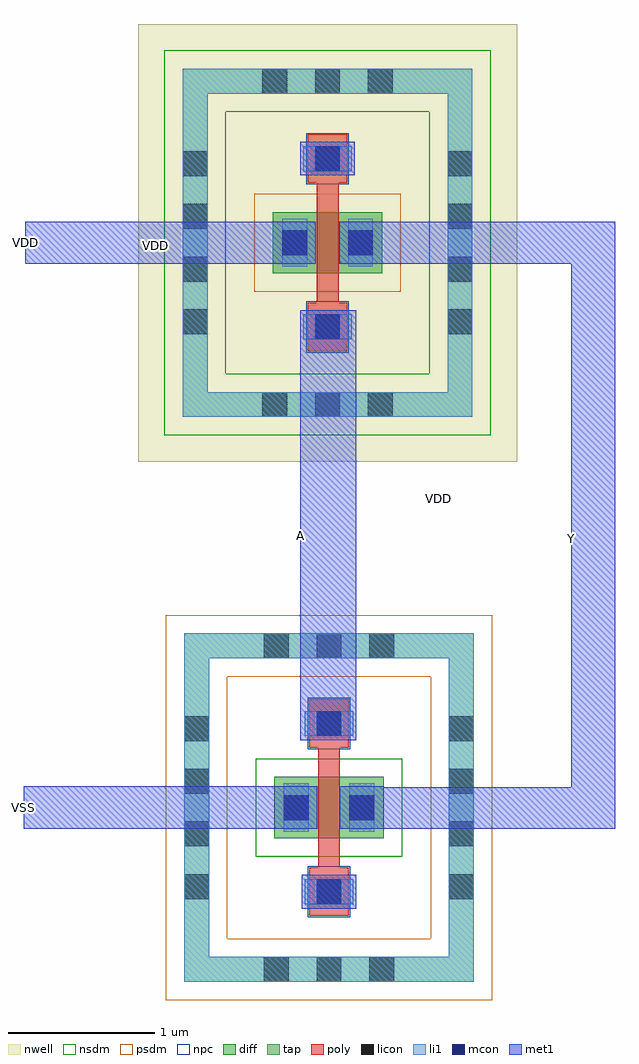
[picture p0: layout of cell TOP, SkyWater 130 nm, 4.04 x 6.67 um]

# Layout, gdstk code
import gdstk
lib = gdstk.Library(unit=1e-6, precision=5e-09)
def R(c, l, rs):  # rectangles x0, y0, x1, y1
    for r in rs: c.add(gdstk.rectangle(r[:2], r[2:], *l))
def A(c, l, x, y, w, h, nx, ny, dx, dy):  # array of equal rectangles
    R(c, l, [(x+i*dx, y+j*dy, x+i*dx+w, y+j*dy+h) for i in range(nx) for j in range(ny)])
def P(c, l, *ps):  # polygons
    for p in ps: c.add(gdstk.Polygon(p, *l))
nwell = (64, 20)
diff = (65, 20)
tap = (65, 44)
poly = (66, 20)
licon = (66, 44)
li1 = (67, 20)
mcon = (67, 44)
met1 = (68, 20)
nsdm = (93, 44)
psdm = (94, 20)
npc = (95, 20)

pfet = lib.new_cell('pfet')
R(pfet, nwell, [(-0.92,-1.285,1.67,1.705)])
R(pfet, diff, [(0,0,0.75,0.42)])
P(pfet, tap, [(-0.615,-0.98),(-0.615,1.23),(-0.445,1.23),(-0.445,-0.81),(1.195,-0.81),(1.195,1.23),(-0.615,1.23),(-0.615,1.4),(1.365,1.4),(1.365,-0.98)])
R(pfet, poly, [(0.24,-0.53,0.51,-0.2), (0.3,-0.2,0.45,0.62), (0.24,0.62,0.51,0.95)])
A(pfet, licon, -0.07, -0.98, 0.17, 0.17, 3, 2, 0.36, 2.21)
A(pfet, licon, -0.615, -0.415, 0.17, 0.17, 1, 4, 0, 0.36)
A(pfet, licon, 1.195, -0.415, 0.17, 0.17, 1, 4, 0, 0.36)
R(pfet, licon, [(0.29,-0.45,0.46,-0.28), (0.065,0.125,0.235,0.295), (0.515,0.125,0.685,0.295), (0.29,0.7,0.46,0.87)])
R(pfet, li1, [(0.21,-0.45,0.54,-0.28), (0.065,0.045,0.235,0.375), (0.515,0.045,0.685,0.375), (0.21,0.7,0.54,0.87)])
P(pfet, li1, [(-0.615,-0.98),(-0.615,1.23),(-0.445,1.23),(-0.445,-0.81),(1.195,-0.81),(1.195,1.23),(-0.615,1.23),(-0.615,1.4),(1.365,1.4),(1.365,-0.98)])
R(pfet, mcon, [(0.29,-0.45,0.46,-0.28), (0.065,0.125,0.235,0.295), (0.515,0.125,0.685,0.295), (0.29,0.7,0.46,0.87)])
R(pfet, met1, [(0.19,-0.48,0.56,-0.25), (0.005,0.065,0.295,0.355), (0.455,0.065,0.745,0.355), (0.19,0.67,0.56,0.9)])
P(pfet, nsdm, [(-0.74,-1.105),(-0.74,1.105),(-0.32,1.105),(-0.32,-0.685),(1.07,-0.685),(1.07,1.105),(-0.74,1.105),(-0.74,1.525),(1.49,1.525),(1.49,-1.105)])
R(pfet, psdm, [(-0.125,-0.125,0.875,0.545)])
R(pfet, npc, [(0.23,-0.54,0.52,-0.19), (0.23,0.61,0.52,0.96)])

nfet = lib.new_cell('nfet')
R(nfet, diff, [(0,0,0.75,0.42)])
P(nfet, tap, [(-0.615,-0.98),(-0.615,1.23),(-0.445,1.23),(-0.445,-0.81),(1.195,-0.81),(1.195,1.23),(-0.615,1.23),(-0.615,1.4),(1.365,1.4),(1.365,-0.98)])
R(nfet, poly, [(0.24,-0.53,0.51,-0.2), (0.3,-0.2,0.45,0.62), (0.24,0.62,0.51,0.95)])
A(nfet, licon, -0.07, -0.98, 0.17, 0.17, 3, 2, 0.36, 2.21)
A(nfet, licon, -0.615, -0.415, 0.17, 0.17, 1, 4, 0, 0.36)
A(nfet, licon, 1.195, -0.415, 0.17, 0.17, 1, 4, 0, 0.36)
R(nfet, licon, [(0.29,-0.45,0.46,-0.28), (0.065,0.125,0.235,0.295), (0.515,0.125,0.685,0.295), (0.29,0.7,0.46,0.87)])
R(nfet, li1, [(0.21,-0.45,0.54,-0.28), (0.065,0.045,0.235,0.375), (0.515,0.045,0.685,0.375), (0.21,0.7,0.54,0.87)])
P(nfet, li1, [(-0.615,-0.98),(-0.615,1.23),(-0.445,1.23),(-0.445,-0.81),(1.195,-0.81),(1.195,1.23),(-0.615,1.23),(-0.615,1.4),(1.365,1.4),(1.365,-0.98)])
R(nfet, mcon, [(0.29,-0.45,0.46,-0.28), (0.065,0.125,0.235,0.295), (0.515,0.125,0.685,0.295), (0.29,0.7,0.46,0.87)])
R(nfet, met1, [(0.19,-0.48,0.56,-0.25), (0.005,0.065,0.295,0.355), (0.455,0.065,0.745,0.355), (0.19,0.67,0.56,0.9)])
R(nfet, nsdm, [(-0.125,-0.125,0.875,0.545)])
P(nfet, psdm, [(-0.74,-1.105),(-0.74,1.105),(-0.32,1.105),(-0.32,-0.685),(1.07,-0.685),(1.07,1.105),(-0.74,1.105),(-0.74,1.525),(1.49,1.525),(1.49,-1.105)])
R(nfet, npc, [(0.23,-0.54,0.52,-0.19), (0.23,0.61,0.52,0.96)])

top = lib.new_cell('TOP')
R(top, met1, [(-2.11,-4.155,-0.105,-3.865), (0.05,-4.155,1.63,-3.87), (1.63,-4.155,1.93,-0.005), (-0.22,-3.55,0.16,-0.61), (-2.1,-0.295,-0.115,-0.005), (0.045,-0.295,1.93,-0.005)])
top.add(gdstk.Reference(pfet, (-0.41,-0.36)))
top.add(gdstk.Reference(nfet, (-0.4,-4.22)))
top.add(gdstk.Label('VDD', (2.5,0.65), layer=68, texttype=5))
top.add(gdstk.Label('VDD', (-1.21,-0.17), layer=68, texttype=5))
top.add(gdstk.Label('VDD', (0.72,-1.9), layer=68, texttype=5))
top.add(gdstk.Label('VDD', (4.67,0.79), layer=68, texttype=5))
top.add(gdstk.Label('VDD', (-2.1,-0.15), layer=68, texttype=5))
top.add(gdstk.Label('VDD', (-2.1,-0.15), layer=68, texttype=5))
top.add(gdstk.Label('VDD', (-2.1,-0.15), layer=67, texttype=16))
top.add(gdstk.Label('VSS', (-2.11,-4.01), layer=67, texttype=16))
top.add(gdstk.Label('A', (-0.22,-2.15), layer=67, texttype=16))
top.add(gdstk.Label('Y', (1.63,-2.17), layer=67, texttype=16))

lib.write_gds('TOP.gds')
